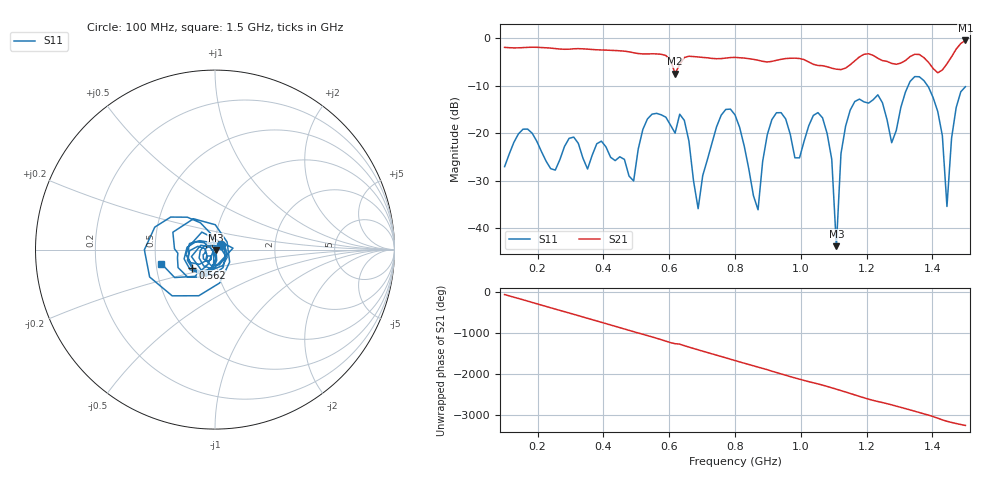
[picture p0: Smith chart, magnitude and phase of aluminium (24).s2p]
! NanoVNA-App
! Date: 2025-09-25 14:55:27
! Start: 100MHz Stop: 1,5GHz Points: 101
! S-Parameter data: F S11 S21 S12 S22
# Hz S RI R 50
!  Frequency  S11_Real  S11_Imag  S21_Real  S21_Imag  S12_Real  S12_Imag  S22_Real  S22_Imag
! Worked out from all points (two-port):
!   101 points, 100 MHz to 1.5 GHz, reference 50 ohm
!   highest |S21| = -0.47 dB at 1.5 GHz (marker M1); lowest = -7.4 dB at 618 MHz (marker M2)
!   |S21| within 3 dB of the highest: start of sweep to 580.8 MHz; 1.462 GHz to end of sweep (the widest 2 of 4)
!   lowest |S11| = -43.7 dB at 1.108 GHz (marker M3), VSWR 1.01, Z = 50.5 - j0.383 ohm
!   |S11| at or under -10 dB: start of sweep to 1.326 GHz; 1.385 GHz to end of sweep
!   S12 and S22 are empty: the file has one direction only
!   S11 on the Smith chart (normalised r, x): 100 MHz: 1.07, +0.06; 562 MHz: 0.76, -0.16; 1.5 GHz: 0.53, -0.09
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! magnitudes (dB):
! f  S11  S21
! 100 MHz  -27.0  -1.9
! 338 MHz  -25.2  -2.2
! 492 MHz  -30.0  -3.0
! 562 MHz  -15.8  -3.3
! 576 MHz  -16.1  -3.4
! 618 MHz  -20.0  -7.4
! 646 MHz  -17.3  -4.1
! 688 MHz  -35.9  -3.9
! 800 MHz  -16.1  -4.0
! 870 MHz  -36.1  -4.6
! 912 MHz  -17.1  -4.9
! 996 MHz  -25.2  -4.3
! 1.038 GHz  -16.2  -5.5
! 1.094 GHz  -25.5  -6.3
! 1.108 GHz  -43.7  -6.5
! 1.122 GHz  -24.3  -6.6
! 1.15 GHz  -15.1  -5.6
! 1.276 GHz  -22.0  -5.3
! 1.374 GHz  -8.9  -4.1
! 1.43 GHz  -20.5  -6.7
! 1.444 GHz  -35.4  -5.4
! 1.5 GHz  -10.2  -0.5
